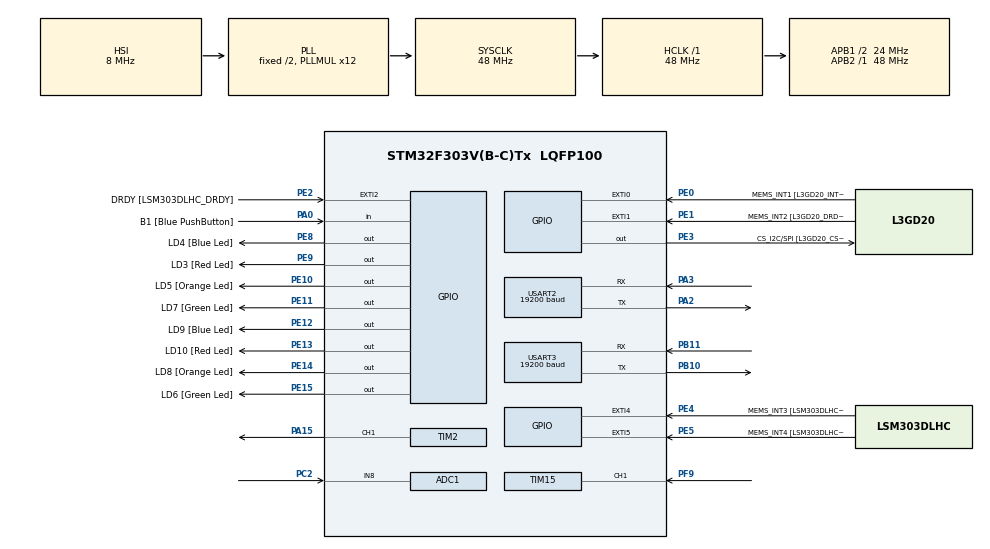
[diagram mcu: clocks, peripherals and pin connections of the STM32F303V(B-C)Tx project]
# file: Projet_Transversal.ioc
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ADC1.AWD1HighThreshold=3048
ADC1.AWD1ITMode=ENABLE
ADC1.Channel-6\#ChannelRegularConversion=ADC_CHANNEL_8
ADC1.EnableAnalogWatchDog1=true
ADC1.ExternalTrigConv=ADC_EXTERNALTRIGCONV_T3_TRGO
ADC1.NbrOfConversionFlag=1
ADC1.Offset-6\#ChannelRegularConversion=0
ADC1.OffsetNumber-6\#ChannelRegularConversion=ADC_OFFSET_NONE
ADC1.Rank-6\#ChannelRegularConversion=1
ADC1.SamplingTime-6\#ChannelRegularConversion=ADC_SAMPLETIME_1CYCLE_5
ADC1.SamplingTimeOPAMP-6\#ChannelRegularConversion=ADC_SAMPLETIME_19CYCLES_5
ADC1.WatchdogChannel=ADC_CHANNEL_8
ADC1.master=1
Mcu.Family=STM32F3
Mcu.Name=STM32F303V(B-C)Tx
Mcu.Package=LQFP100
NVIC.ADC1_2_IRQn=true\:0\:0\:false\:false\:true\:true\:true\:true
NVIC.PriorityGroup=NVIC_PRIORITYGROUP_0
NVIC.USART2_IRQn=true\:0\:0\:false\:false\:true\:true\:true\:true
NVIC.USART3_IRQn=true\:0\:0\:false\:false\:true\:true\:true\:true
PA0.GPIO_Label=B1 [Blue PushButton]
PA0.GPIO_Mode=GPIO_MODE_INPUT
PA0.GPIO_PuPd=GPIO_NOPULL
PA0.Signal=GPIO_Input
PA11.GPIO_Label=DM
PA11.Signal=USB_DM
PA12.GPIO_Label=DP
PA12.Signal=USB_DP
PA13.GPIO_Label=SWDIO
PA13.Signal=SYS_JTMS-SWDIO
PA14.GPIO_Label=SWCLK
PA14.Signal=SYS_JTCK-SWCLK
PA15.Signal=S_TIM2_CH1_ETR
PA2.Mode=Asynchronous
PA2.Signal=USART2_TX
PA3.Mode=Asynchronous
PA3.Signal=USART2_RX
PA5.GPIO_Label=SPI1_SCK [L3GD20_SCL/SPC]
PA5.GPIO_Mode=GPIO_MODE_AF_PP
PA5.GPIO_PuPd=GPIO_NOPULL
PA5.GPIO_Speed=GPIO_SPEED_FREQ_LOW
PA5.Signal=SPI1_SCK
PA6.GPIO_Label=SPI1_MISO [L3GD20_SA0/SDO]
PA6.GPIO_Mode=GPIO_MODE_AF_PP
PA6.GPIO_PuPd=GPIO_NOPULL
PA6.GPIO_Speed=GPIO_SPEED_FREQ_LOW
PA6.Signal=SPI1_MISO
PA7.GPIO_Label=SPI1_MISO [L3GD20_SDA/SDI/SDO]
PA7.GPIO_Mode=GPIO_MODE_AF_PP
PA7.GPIO_PuPd=GPIO_NOPULL
PA7.GPIO_Speed=GPIO_SPEED_FREQ_LOW
PA7.Signal=SPI1_MOSI
PB10.Mode=Asynchronous
PB10.Signal=USART3_TX
PB11.Mode=Asynchronous
PB11.Signal=USART3_RX
PB3.GPIO_Label=SWO
PB3.Signal=SYS_JTDO-TRACESWO
PB6.GPIO_FM6=__NULL
PB6.GPIO_Label=I2C1_SCL [LSM303DLHC_SCL]
PB6.GPIO_Mode=GPIO_MODE_AF_OD
PB6.GPIO_PuPd=GPIO_NOPULL
PB6.GPIO_Speed=GPIO_SPEED_FREQ_LOW
PB6.Signal=I2C1_SCL
PB7.GPIO_FM7=__NULL
PB7.GPIO_Label=I2C1_SDA [LSM303DLHC_SDA]
PB7.GPIO_Mode=GPIO_MODE_AF_OD
PB7.GPIO_PuPd=GPIO_NOPULL
PB7.GPIO_Speed=GPIO_SPEED_FREQ_LOW
PB7.Signal=I2C1_SDA
PC14-OSC32_IN.GPIO_Label=OSC32_IN
PC14-OSC32_IN.Signal=RCC_OSC32_IN
PC15-OSC32_OUT.GPIO_Label=OSC32_OUT
PC15-OSC32_OUT.Signal=RCC_OSC32_OUT
PC2.Signal=ADCx_IN8
PE0.GPIO_Label=MEMS_INT1 [L3GD20_INT1]
PE0.GPIO_ModeDefaultEXTI=GPIO_MODE_EVT_RISING
PE0.GPIO_PuPd=GPIO_NOPULL
PE0.Signal=GPXTI0
PE1.GPIO_Label=MEMS_INT2 [L3GD20_DRDY/INT2]
PE1.GPIO_ModeDefaultEXTI=GPIO_MODE_EVT_RISING
PE1.GPIO_PuPd=GPIO_NOPULL
PE1.Signal=GPXTI1
PE10.GPIO_Label=LD5 [Orange Led]
PE10.GPIO_ModeDefaultOutputPP=GPIO_MODE_OUTPUT_PP
PE10.GPIO_PuPd=GPIO_NOPULL
PE10.GPIO_Speed=GPIO_SPEED_FREQ_LOW
PE10.Signal=GPIO_Output
PE11.GPIO_Label=LD7 [Green Led]
PE11.GPIO_ModeDefaultOutputPP=GPIO_MODE_OUTPUT_PP
PE11.GPIO_PuPd=GPIO_NOPULL
PE11.GPIO_Speed=GPIO_SPEED_FREQ_LOW
PE11.Signal=GPIO_Output
PE12.GPIO_Label=LD9 [Blue Led]
PE12.GPIO_ModeDefaultOutputPP=GPIO_MODE_OUTPUT_PP
PE12.GPIO_PuPd=GPIO_NOPULL
PE12.GPIO_Speed=GPIO_SPEED_FREQ_LOW
PE12.Signal=GPIO_Output
PE13.GPIO_Label=LD10 [Red Led]
PE13.GPIO_ModeDefaultOutputPP=GPIO_MODE_OUTPUT_PP
PE13.GPIO_PuPd=GPIO_NOPULL
PE13.GPIO_Speed=GPIO_SPEED_FREQ_LOW
PE13.Signal=GPIO_Output
PE14.GPIO_Label=LD8 [Orange Led]
PE14.GPIO_ModeDefaultOutputPP=GPIO_MODE_OUTPUT_PP
PE14.GPIO_PuPd=GPIO_NOPULL
PE14.GPIO_Speed=GPIO_SPEED_FREQ_LOW
PE14.Signal=GPIO_Output
PE15.GPIO_Label=LD6 [Green Led]
PE15.GPIO_ModeDefaultOutputPP=GPIO_MODE_OUTPUT_PP
PE15.GPIO_PuPd=GPIO_NOPULL
PE15.GPIO_Speed=GPIO_SPEED_FREQ_LOW
PE15.Signal=GPIO_Output
PE2.GPIO_Label=DRDY [LSM303DLHC_DRDY]
PE2.GPIO_ModeDefaultEXTI=GPIO_MODE_EVT_RISING
PE2.GPIO_PuPd=GPIO_NOPULL
PE2.Signal=GPXTI2
PE3.GPIO_Label=CS_I2C/SPI [L3GD20_CS_I2C/SPI]
PE3.GPIO_ModeDefaultOutputPP=GPIO_MODE_OUTPUT_PP
PE3.GPIO_PuPd=GPIO_NOPULL
PE3.GPIO_Speed=GPIO_SPEED_FREQ_LOW
PE3.Signal=GPIO_Output
PE4.GPIO_Label=MEMS_INT3 [LSM303DLHC_INT1]
PE4.GPIO_ModeDefaultEXTI=GPIO_MODE_EVT_RISING
PE4.GPIO_PuPd=GPIO_NOPULL
PE4.Signal=GPXTI4
PE5.GPIO_Label=MEMS_INT4 [LSM303DLHC_INT2]
PE5.GPIO_ModeDefaultEXTI=GPIO_MODE_EVT_RISING
PE5.GPIO_PuPd=GPIO_NOPULL
PE5.Signal=GPXTI5
PE8.GPIO_Label=LD4 [Blue Led]
PE8.GPIO_ModeDefaultOutputPP=GPIO_MODE_OUTPUT_PP
PE8.GPIO_PuPd=GPIO_NOPULL
PE8.GPIO_Speed=GPIO_SPEED_FREQ_LOW
PE8.Signal=GPIO_Output
PE9.GPIO_Label=LD3 [Red Led]
PE9.GPIO_ModeDefaultOutputPP=GPIO_MODE_OUTPUT_PP
PE9.GPIO_PuPd=GPIO_NOPULL
PE9.GPIO_Speed=GPIO_SPEED_FREQ_LOW
PE9.Signal=GPIO_Output
PF0-OSC_IN.GPIO_Label=OSC_IN
PF0-OSC_IN.Signal=RCC_OSC_IN
PF1-OSC_OUT.GPIO_Label=OSC_OUT
PF1-OSC_OUT.Signal=RCC_OSC_OUT
PF9.Signal=S_TIM15_CH1
ProjectManager.HeapSize=0x200
ProjectManager.StackSize=0x400
ProjectManager.TargetToolchain=STM32CubeIDE
RCC.AHBFreq_Value=48000000
RCC.APB1CLKDivider=RCC_HCLK_DIV2
RCC.APB1Freq_Value=24000000
RCC.APB1TimFreq_Value=48000000
RCC.APB2Freq_Value=48000000
RCC.APB2TimFreq_Value=48000000
RCC.CortexFreq_Value=48000000
RCC.HCLKFreq_Value=48000000
RCC.HSE_VALUE=8000000
RCC.HSI_VALUE=8000000
RCC.LSE_VALUE=32768
RCC.PLLMUL=RCC_PLL_MUL12
RCC.SYSCLKFreq_VALUE=48000000
RCC.SYSCLKSourceVirtual=RCC_SYSCLKSOURCE_PLLCLK
RCC.USBFreq_Value=48000000
SH.ADCx_IN8.0=ADC1_IN8,IN8-Single-Ended
SH.S_TIM15_CH1.0=TIM15_CH1,Input_Capture1_from_TI1
SH.S_TIM2_CH1_ETR.0=TIM2_CH1,PWM Generation1 CH1
TIM15.Channel-Input_Capture1_from_TI1=TIM_CHANNEL_1
TIM2.Channel-PWM\ Generation1\ CH1=TIM_CHANNEL_1
TIM2.Period=1000-1
TIM2.Prescaler=960-1
TIM3.Channel-PWM\ Generation1\ No\ Output=TIM_CHANNEL_1
TIM3.Prescaler=100
TIM3.TIM_MasterOutputTrigger=TIM_TRGO_UPDATE
USART2.BaudRate=19200
USART2.OverrunDisableParam=ADVFEATURE_OVERRUN_DISABLE
USART2.VirtualMode-Asynchronous=VM_ASYNC
USART3.BaudRate=19200
USART3.OverrunDisableParam=ADVFEATURE_OVERRUN_DISABLE
USART3.VirtualMode-Asynchronous=VM_ASYNC
VP_TIM2_VS_ClockSourceINT.Mode=Internal
VP_TIM3_VS_no_output1.Mode=PWM Generation1 No Output
board=STM32F3DISCOVERY

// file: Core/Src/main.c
/* USER CODE BEGIN Header */
/**
  ******************************************************************************
  * @file           : main.c
  * @brief          : Main program body
  ******************************************************************************
  * @attention
  *
  * Copyright (c) 2025 STMicroelectronics.
  * All rights reserved.
  *
  * This software is licensed under terms that can be found in the LICENSE file
  * in the root directory of this software component.
  * If no LICENSE file comes with this software, it is provided AS-IS.
  *
  ******************************************************************************
  */
/* USER CODE END Header */
#include "main.h"

/* USER CODE BEGIN Includes */

#include <string.h>

/* USER CODE END Includes */

/* USER CODE BEGIN PM */
#define INFRARED_ADC_HANDLE hadc1

#define WIRELESS_UART_HANDLE huart2
#define SERIALIZER_UART_HANDLE huart3

/* USER CODE END PM */

ADC_HandleTypeDef hadc1;

TIM_HandleTypeDef htim2;
TIM_HandleTypeDef htim3;
TIM_HandleTypeDef htim15;

UART_HandleTypeDef huart2;
UART_HandleTypeDef huart3;

void SystemClock_Config(void);
static void MX_GPIO_Init(void);
static void MX_USART2_UART_Init(void);
static void MX_USART3_UART_Init(void);
static void MX_TIM2_Init(void);
static void MX_TIM15_Init(void);
static void MX_ADC1_Init(void);
static void MX_TIM3_Init(void);

/* USER CODE BEGIN 0 */
uint8_t uart_buffer[10];
uint8_t interrupt_buf[101];
uint8_t uart2_char[1];
uint8_t uart3_char[1];

int is_receiving = 0;
int buf_cnt = 0;
uint16_t ADC_VAL = 0;

enum robot_state {
	FORWARD,
	TURN_RIGHT,
	TURN_LEFT,
	BACKWARD,
	STOP
};

enum robot_state state;

int send_serializer_cmd(UART_HandleTypeDef * serializer_uart, uint8_t * cmd, int len, int timeout) {
	HAL_StatusTypeDef status;
	char resp[7];
	status = HAL_UART_Transmit(serializer_uart, cmd, len, timeout);
	status = HAL_UART_Receive(serializer_uart, (uint8_t *) resp, 7, HAL_MAX_DELAY);
	if(status) return status;
	HAL_UART_Transmit(&huart2, (uint8_t *) "A", 1, 100);

	if(status) return status;
	HAL_UART_Transmit(&huart2, (uint8_t *) "B", 1, 100);
	HAL_UART_Transmit(&huart2, (uint8_t *) resp, strlen(resp), 100);
	HAL_UART_Transmit(&huart2, (uint8_t *) "B", 1, 100);

	if(strcmp(&resp[1], "A") == 0) {
		return HAL_OK;
	} else {
		return HAL_ERROR;
	}
}

/* USER CODE END 0 */

HAL_StatusTypeDef x;
int main(void)
{

  /* MCU Configuration--------------------------------------------------------*/

  /* Reset of all peripherals, Initializes the Flash interface and the Systick. */
  HAL_Init();

  /* Configure the system clock */
  SystemClock_Config();

  /* Initialize all configured peripherals */
  MX_GPIO_Init();
  MX_USART2_UART_Init();
  MX_USART3_UART_Init();
  MX_TIM2_Init();
  MX_TIM15_Init();
  MX_ADC1_Init();
  MX_TIM3_Init();
  /* USER CODE BEGIN 2 */
  HAL_UART_Receive_IT(&huart2, uart2_char, 1);
  //HAL_UART_Receive_IT(&huart3, uart3_char, 1);
  HAL_TIM_PWM_Start(&htim2, TIM_CHANNEL_1);
  HAL_TIM_PWM_Start(&htim3, TIM_CHANNEL_1);
  HAL_ADC_Start_IT(&hadc1);

  state = FORWARD;
  /* USER CODE END 2 */

  /* Infinite loop */
  /* USER CODE BEGIN WHILE */
  while (1)
  {
	  //HAL_UART_Transmit(&huart2, (uint8_t *) "Main Loop\r\n", 11, 100);
	  //HAL_Delay(1000);

//	  htim2.Instance->CCR1 = 45;  // duty cycle is .5 ms
//	  HAL_Delay(2000);
//	  htim2.Instance->CCR1 = 75;  // duty cycle is 1.5 ms
//	  HAL_Delay(2000);
//	  htim2.Instance->CCR1 = 100;  // duty cycle is 2.5 ms
//	  HAL_Delay(2000);

	  //HAL_UART_Receive(&huart2, uart_buffer, 10, HAL_MAX_DELAY);
//	  HAL_UART_Transmit(&huart2, (uint8_t *) "\r\n", 2, 100);
//	  HAL_UART_Transmit(&huart2, uart_buffer, 10, 100);
//	  HAL_UART_Transmit(&huart2, (uint8_t *) "\r\n", 2, 100);
	  //HAL_UART_Transmit(&huart2, (uint8_t *) "Hello World!\r\n", 14, 100);

//	  uint16_t adc_val = HAL_ADC_GetValue(&hadc1);
//	  HAL_UART_Transmit(&huart2, (uint8_t *) &adc_val, 1, 100);
//	  HAL_UART_Transmit(&huart2, (uint8_t *) "\r\n", 2, 100);

	  char cmd[100];
	  if(state == FORWARD) {
		  strcpy(cmd, "mogo 1:4 2:4\r");
//		  cmd = "mogo 1:4 2:4\r";
		  //send_serializer_cmd(&SERIALIZER_UART_HANDLE, (uint8_t *) cmd, strlen(cmd), HAL_MAX_DELAY);
//		  HAL_UART_Transmit(&huart3, (uint8_t *) "mogo 1:4 2:4\r", 13, 100);
//		  HAL_UART_Transmit(&huart2, (uint8_t *) "forward\r\n", 9, 100);
//		  HAL_Delay(100);
	  } else if(state == TURN_RIGHT) {
		  strcpy(cmd, "mogo 1:4 2:-4\r");
//		  cmd = "mogo 1:4 2:-4\r";
		  //send_serializer_cmd(&SERIALIZER_UART_HANDLE, (uint8_t *) cmd, strlen(cmd), 100);
//		  HAL_UART_Transmit(&huart3, (uint8_t *) "mogo 1:4 2:-4\r", 14, 100);
//		  HAL_UART_Transmit(&huart2, (uint8_t *) "right\r\n", 7, 100);
//		  HAL_Delay(2000);
		  state = FORWARD;
	  } else if(state == BACKWARD) {
		  strcpy(cmd, "mogo 1:-4 2:-4\r");
		  //cmd = "mogo 1:-4 2:-4\r";
		  //send_serializer_cmd(&SERIALIZER_UART_HANDLE, (uint8_t *) cmd, strlen(cmd), 100);
//		  HAL_UART_Transmit(&huart3, (uint8_t *) "mogo 1:-4 2:-4\r", 15, 100);
//		  HAL_UART_Transmit(&huart2, (uint8_t *) "back\r\n", 6, 100);
//		  HAL_Delay(2000);
		  state = TURN_RIGHT;
	  } else if(state == STOP) {
		  strcpy(cmd, "stop\r");
//		  cmd = "stop\r";
		  //send_serializer_cmd(&SERIALIZER_UART_HANDLE, (uint8_t *) cmd, strlen(cmd), 100);
//		  HAL_UART_Transmit(&huart3, (uint8_t *) "stop\r", 5, 100);
//		  HAL_UART_Transmit(&huart2, (uint8_t *) "stop\r\n", 6, 100);
//		  HAL_Delay(1000);
		  //state = STOP;
	  }

	  HAL_UART_Transmit(&SERIALIZER_UART_HANDLE, cmd, strlen(cmd), 100);
	  sprintf(cmd, "%s\n", cmd);
	  HAL_UART_Transmit(&WIRELESS_UART_HANDLE, cmd, strlen(cmd), 100);
	  HAL_Delay(1000);

    /* USER CODE END WHILE */

  }
}

void SystemClock_Config(void)
{
  RCC_OscInitTypeDef RCC_OscInitStruct = {0};
  RCC_ClkInitTypeDef RCC_ClkInitStruct = {0};
  RCC_PeriphCLKInitTypeDef PeriphClkInit = {0};

  /** Initializes the RCC Oscillators according to the specified parameters
  * in the RCC_OscInitTypeDef structure.
  */
  RCC_OscInitStruct.OscillatorType = RCC_OSCILLATORTYPE_HSI;
  RCC_OscInitStruct.HSIState = RCC_HSI_ON;
  RCC_OscInitStruct.HSICalibrationValue = RCC_HSICALIBRATION_DEFAULT;
  RCC_OscInitStruct.PLL.PLLState = RCC_PLL_ON;
  RCC_OscInitStruct.PLL.PLLSource = RCC_PLLSOURCE_HSI;
  RCC_OscInitStruct.PLL.PLLMUL = RCC_PLL_MUL12;
  if (HAL_RCC_OscConfig(&RCC_OscInitStruct) != HAL_OK)
  {
    Error_Handler();
  }

  /** Initializes the CPU, AHB and APB buses clocks
  */
  RCC_ClkInitStruct.ClockType = RCC_CLOCKTYPE_HCLK|RCC_CLOCKTYPE_SYSCLK
                              |RCC_CLOCKTYPE_PCLK1|RCC_CLOCKTYPE_PCLK2;
  RCC_ClkInitStruct.SYSCLKSource = RCC_SYSCLKSOURCE_PLLCLK;
  RCC_ClkInitStruct.AHBCLKDivider = RCC_SYSCLK_DIV1;
  RCC_ClkInitStruct.APB1CLKDivider = RCC_HCLK_DIV2;
  RCC_ClkInitStruct.APB2CLKDivider = RCC_HCLK_DIV1;

  if (HAL_RCC_ClockConfig(&RCC_ClkInitStruct, FLASH_LATENCY_1) != HAL_OK)
  {
    Error_Handler();
  }
  PeriphClkInit.PeriphClockSelection = RCC_PERIPHCLK_USART2|RCC_PERIPHCLK_USART3
                              |RCC_PERIPHCLK_ADC12;
  PeriphClkInit.Usart2ClockSelection = RCC_USART2CLKSOURCE_PCLK1;
  PeriphClkInit.Usart3ClockSelection = RCC_USART3CLKSOURCE_PCLK1;
  PeriphClkInit.Adc12ClockSelection = RCC_ADC12PLLCLK_DIV1;
  if (HAL_RCCEx_PeriphCLKConfig(&PeriphClkInit) != HAL_OK)
  {
    Error_Handler();
  }
}

static void MX_ADC1_Init(void)
{

  ADC_MultiModeTypeDef multimode = {0};
  ADC_AnalogWDGConfTypeDef AnalogWDGConfig = {0};
  ADC_ChannelConfTypeDef sConfig = {0};

  /** Common config
  */
  hadc1.Instance = ADC1;
  hadc1.Init.ClockPrescaler = ADC_CLOCK_ASYNC_DIV1;
  hadc1.Init.Resolution = ADC_RESOLUTION_12B;
  hadc1.Init.ScanConvMode = ADC_SCAN_DISABLE;
  hadc1.Init.ContinuousConvMode = DISABLE;
  hadc1.Init.DiscontinuousConvMode = DISABLE;
  hadc1.Init.ExternalTrigConvEdge = ADC_EXTERNALTRIGCONVEDGE_RISING;
  hadc1.Init.ExternalTrigConv = ADC_EXTERNALTRIGCONV_T3_TRGO;
  hadc1.Init.DataAlign = ADC_DATAALIGN_RIGHT;
  hadc1.Init.NbrOfConversion = 1;
  hadc1.Init.DMAContinuousRequests = DISABLE;
  hadc1.Init.EOCSelection = ADC_EOC_SINGLE_CONV;
  hadc1.Init.LowPowerAutoWait = DISABLE;
  hadc1.Init.Overrun = ADC_OVR_DATA_OVERWRITTEN;
  if (HAL_ADC_Init(&hadc1) != HAL_OK)
  {
    Error_Handler();
  }

  /** Configure the ADC multi-mode
  */
  multimode.Mode = ADC_MODE_INDEPENDENT;
  if (HAL_ADCEx_MultiModeConfigChannel(&hadc1, &multimode) != HAL_OK)
  {
    Error_Handler();
  }

  /** Configure Analog WatchDog 1
  */
  AnalogWDGConfig.WatchdogNumber = ADC_ANALOGWATCHDOG_1;
  AnalogWDGConfig.WatchdogMode = ADC_ANALOGWATCHDOG_SINGLE_REG;
  AnalogWDGConfig.HighThreshold = 3048;
  AnalogWDGConfig.LowThreshold = 0;
  AnalogWDGConfig.Channel = ADC_CHANNEL_8;
  AnalogWDGConfig.ITMode = ENABLE;
  if (HAL_ADC_AnalogWDGConfig(&hadc1, &AnalogWDGConfig) != HAL_OK)
  {
    Error_Handler();
  }

  /** Configure Regular Channel
  */
  sConfig.Channel = ADC_CHANNEL_8;
  sConfig.Rank = ADC_REGULAR_RANK_1;
  sConfig.SingleDiff = ADC_SINGLE_ENDED;
  sConfig.SamplingTime = ADC_SAMPLETIME_1CYCLE_5;
  sConfig.OffsetNumber = ADC_OFFSET_NONE;
  sConfig.Offset = 0;
  if (HAL_ADC_ConfigChannel(&hadc1, &sConfig) != HAL_OK)
  {
    Error_Handler();
  }

}

static void MX_TIM2_Init(void)
{

  TIM_ClockConfigTypeDef sClockSourceConfig = {0};
  TIM_MasterConfigTypeDef sMasterConfig = {0};
  TIM_OC_InitTypeDef sConfigOC = {0};

  htim2.Instance = TIM2;
  htim2.Init.Prescaler = 960-1;
  htim2.Init.CounterMode = TIM_COUNTERMODE_UP;
  htim2.Init.Period = 1000-1;
  htim2.Init.ClockDivision = TIM_CLOCKDIVISION_DIV1;
  htim2.Init.AutoReloadPreload = TIM_AUTORELOAD_PRELOAD_DISABLE;
  if (HAL_TIM_Base_Init(&htim2) != HAL_OK)
  {
    Error_Handler();
  }
  sClockSourceConfig.ClockSource = TIM_CLOCKSOURCE_INTERNAL;
  if (HAL_TIM_ConfigClockSource(&htim2, &sClockSourceConfig) != HAL_OK)
  {
    Error_Handler();
  }
  if (HAL_TIM_PWM_Init(&htim2) != HAL_OK)
  {
    Error_Handler();
  }
  sMasterConfig.MasterOutputTrigger = TIM_TRGO_RESET;
  sMasterConfig.MasterSlaveMode = TIM_MASTERSLAVEMODE_DISABLE;
  if (HAL_TIMEx_MasterConfigSynchronization(&htim2, &sMasterConfig) != HAL_OK)
  {
    Error_Handler();
  }
  sConfigOC.OCMode = TIM_OCMODE_PWM1;
  sConfigOC.Pulse = 0;
  sConfigOC.OCPolarity = TIM_OCPOLARITY_HIGH;
  sConfigOC.OCFastMode = TIM_OCFAST_DISABLE;
  if (HAL_TIM_PWM_ConfigChannel(&htim2, &sConfigOC, TIM_CHANNEL_1) != HAL_OK)
  {
    Error_Handler();
  }
  HAL_TIM_MspPostInit(&htim2);

}

static void MX_TIM3_Init(void)
{

  TIM_MasterConfigTypeDef sMasterConfig = {0};
  TIM_OC_InitTypeDef sConfigOC = {0};

  htim3.Instance = TIM3;
  htim3.Init.Prescaler = 100;
  htim3.Init.CounterMode = TIM_COUNTERMODE_UP;
  htim3.Init.Period = 65535;
  htim3.Init.ClockDivision = TIM_CLOCKDIVISION_DIV1;
  htim3.Init.AutoReloadPreload = TIM_AUTORELOAD_PRELOAD_DISABLE;
  if (HAL_TIM_PWM_Init(&htim3) != HAL_OK)
  {
    Error_Handler();
  }
  sMasterConfig.MasterOutputTrigger = TIM_TRGO_UPDATE;
  sMasterConfig.MasterSlaveMode = TIM_MASTERSLAVEMODE_DISABLE;
  if (HAL_TIMEx_MasterConfigSynchronization(&htim3, &sMasterConfig) != HAL_OK)
  {
    Error_Handler();
  }
  sConfigOC.OCMode = TIM_OCMODE_PWM1;
  sConfigOC.Pulse = 0;
  sConfigOC.OCPolarity = TIM_OCPOLARITY_HIGH;
  sConfigOC.OCFastMode = TIM_OCFAST_DISABLE;
  if (HAL_TIM_PWM_ConfigChannel(&htim3, &sConfigOC, TIM_CHANNEL_1) != HAL_OK)
  {
    Error_Handler();
  }

}

static void MX_TIM15_Init(void)
{

  TIM_MasterConfigTypeDef sMasterConfig = {0};
  TIM_IC_InitTypeDef sConfigIC = {0};

  htim15.Instance = TIM15;
  htim15.Init.Prescaler = 0;
  htim15.Init.CounterMode = TIM_COUNTERMODE_UP;
  htim15.Init.Period = 65535;
  htim15.Init.ClockDivision = TIM_CLOCKDIVISION_DIV1;
  htim15.Init.RepetitionCounter = 0;
  htim15.Init.AutoReloadPreload = TIM_AUTORELOAD_PRELOAD_DISABLE;
  if (HAL_TIM_IC_Init(&htim15) != HAL_OK)
  {
    Error_Handler();
  }
  sMasterConfig.MasterOutputTrigger = TIM_TRGO_RESET;
  sMasterConfig.MasterSlaveMode = TIM_MASTERSLAVEMODE_DISABLE;
  if (HAL_TIMEx_MasterConfigSynchronization(&htim15, &sMasterConfig) != HAL_OK)
  {
    Error_Handler();
  }
  sConfigIC.ICPolarity = TIM_INPUTCHANNELPOLARITY_RISING;
  sConfigIC.ICSelection = TIM_ICSELECTION_DIRECTTI;
  sConfigIC.ICPrescaler = TIM_ICPSC_DIV1;
  sConfigIC.ICFilter = 0;
  if (HAL_TIM_IC_ConfigChannel(&htim15, &sConfigIC, TIM_CHANNEL_1) != HAL_OK)
  {
    Error_Handler();
  }

}

static void MX_USART2_UART_Init(void)
{

  huart2.Instance = USART2;
  huart2.Init.BaudRate = 19200;
  huart2.Init.WordLength = UART_WORDLENGTH_8B;
  huart2.Init.StopBits = UART_STOPBITS_1;
  huart2.Init.Parity = UART_PARITY_NONE;
  huart2.Init.Mode = UART_MODE_TX_RX;
  huart2.Init.HwFlowCtl = UART_HWCONTROL_NONE;
  huart2.Init.OverSampling = UART_OVERSAMPLING_16;
  huart2.Init.OneBitSampling = UART_ONE_BIT_SAMPLE_DISABLE;
  huart2.AdvancedInit.AdvFeatureInit = UART_ADVFEATURE_RXOVERRUNDISABLE_INIT;
  huart2.AdvancedInit.OverrunDisable = UART_ADVFEATURE_OVERRUN_DISABLE;
  if (HAL_UART_Init(&huart2) != HAL_OK)
  {
    Error_Handler();
  }

}

static void MX_USART3_UART_Init(void)
{

  huart3.Instance = USART3;
  huart3.Init.BaudRate = 19200;
  huart3.Init.WordLength = UART_WORDLENGTH_8B;
  huart3.Init.StopBits = UART_STOPBITS_1;
  huart3.Init.Parity = UART_PARITY_NONE;
  huart3.Init.Mode = UART_MODE_TX_RX;
  huart3.Init.HwFlowCtl = UART_HWCONTROL_NONE;
  huart3.Init.OverSampling = UART_OVERSAMPLING_16;
  huart3.Init.OneBitSampling = UART_ONE_BIT_SAMPLE_DISABLE;
  huart3.AdvancedInit.AdvFeatureInit = UART_ADVFEATURE_RXOVERRUNDISABLE_INIT;
  huart3.AdvancedInit.OverrunDisable = UART_ADVFEATURE_OVERRUN_DISABLE;
  if (HAL_UART_Init(&huart3) != HAL_OK)
  {
    Error_Handler();
  }

}

static void MX_GPIO_Init(void)
{
  GPIO_InitTypeDef GPIO_InitStruct = {0};

  /* GPIO Ports Clock Enable */
  __HAL_RCC_GPIOE_CLK_ENABLE();
  __HAL_RCC_GPIOC_CLK_ENABLE();
  __HAL_RCC_GPIOF_CLK_ENABLE();
  __HAL_RCC_GPIOA_CLK_ENABLE();
  __HAL_RCC_GPIOB_CLK_ENABLE();

  /*Configure GPIO pin Output Level */
  HAL_GPIO_WritePin(GPIOE, CS_I2C_SPI_Pin|LD4_Pin|LD3_Pin|LD5_Pin
                          |LD7_Pin|LD9_Pin|LD10_Pin|LD8_Pin
                          |LD6_Pin, GPIO_PIN_RESET);

  /*Configure GPIO pins : DRDY_Pin MEMS_INT3_Pin MEMS_INT4_Pin MEMS_INT1_Pin
                           MEMS_INT2_Pin */
  GPIO_InitStruct.Pin = DRDY_Pin|MEMS_INT3_Pin|MEMS_INT4_Pin|MEMS_INT1_Pin
                          |MEMS_INT2_Pin;
  GPIO_InitStruct.Mode = GPIO_MODE_EVT_RISING;
  GPIO_InitStruct.Pull = GPIO_NOPULL;
  HAL_GPIO_Init(GPIOE, &GPIO_InitStruct);

  /*Configure GPIO pins : CS_I2C_SPI_Pin LD4_Pin LD3_Pin LD5_Pin
                           LD7_Pin LD9_Pin LD10_Pin LD8_Pin
                           LD6_Pin */
  GPIO_InitStruct.Pin = CS_I2C_SPI_Pin|LD4_Pin|LD3_Pin|LD5_Pin
                          |LD7_Pin|LD9_Pin|LD10_Pin|LD8_Pin
                          |LD6_Pin;
  GPIO_InitStruct.Mode = GPIO_MODE_OUTPUT_PP;
  GPIO_InitStruct.Pull = GPIO_NOPULL;
  GPIO_InitStruct.Speed = GPIO_SPEED_FREQ_LOW;
  HAL_GPIO_Init(GPIOE, &GPIO_InitStruct);

  /*Configure GPIO pin : B1_Pin */
  GPIO_InitStruct.Pin = B1_Pin;
  GPIO_InitStruct.Mode = GPIO_MODE_INPUT;
  GPIO_InitStruct.Pull = GPIO_NOPULL;
  HAL_GPIO_Init(B1_GPIO_Port, &GPIO_InitStruct);

  /*Configure GPIO pins : SPI1_SCK_Pin SPI1_MISO_Pin SPI1_MISOA7_Pin */
  GPIO_InitStruct.Pin = SPI1_SCK_Pin|SPI1_MISO_Pin|SPI1_MISOA7_Pin;
  GPIO_InitStruct.Mode = GPIO_MODE_AF_PP;
  GPIO_InitStruct.Pull = GPIO_NOPULL;
  GPIO_InitStruct.Speed = GPIO_SPEED_FREQ_LOW;
  GPIO_InitStruct.Alternate = GPIO_AF5_SPI1;
  HAL_GPIO_Init(GPIOA, &GPIO_InitStruct);

  /*Configure GPIO pins : DM_Pin DP_Pin */
  GPIO_InitStruct.Pin = DM_Pin|DP_Pin;
  GPIO_InitStruct.Mode = GPIO_MODE_AF_PP;
  GPIO_InitStruct.Pull = GPIO_NOPULL;
  GPIO_InitStruct.Speed = GPIO_SPEED_FREQ_HIGH;
  GPIO_InitStruct.Alternate = GPIO_AF14_USB;
  HAL_GPIO_Init(GPIOA, &GPIO_InitStruct);

  /*Configure GPIO pins : I2C1_SCL_Pin I2C1_SDA_Pin */
  GPIO_InitStruct.Pin = I2C1_SCL_Pin|I2C1_SDA_Pin;
  GPIO_InitStruct.Mode = GPIO_MODE_AF_OD;
  GPIO_InitStruct.Pull = GPIO_NOPULL;
  GPIO_InitStruct.Speed = GPIO_SPEED_FREQ_LOW;
  GPIO_InitStruct.Alternate = GPIO_AF4_I2C1;
  HAL_GPIO_Init(GPIOB, &GPIO_InitStruct);

}

/* USER CODE BEGIN 4 */
void HAL_UART_RxCpltCallback(UART_HandleTypeDef *huart)
{
	//HAL_UART_Transmit(&huart2, (uint8_t *) "ab\r\n", 4, 100);
	if(huart == &huart2) {
		if(uart2_char[0] == 's') {
			state = STOP;
		} else if(uart2_char[0] == 'g') {
			HAL_UART_Transmit(&huart2, (uint8_t *) "cd\r\n", 4, 100);
			state = FORWARD;
		}

		if(!is_receiving && uart2_char[0] == 'c') {
			is_receiving = '1';
			buf_cnt = 0;

			HAL_UART_Transmit(&huart2, (uint8_t *) "hit\r\n", 5, 100);

//			HAL_UART_Receive(&huart2, interrupt_buf, 10, HAL_MAX_DELAY);
//			HAL_UART_Transmit(&huart2, (uint8_t *) "\r\n", 2, 100);
//			HAL_UART_Transmit(&huart2, interrupt_buf, 10, 100);
//			HAL_UART_Transmit(&huart2, (uint8_t *) "\r\n", 2, 100);

//			HAL_UART_Transmit(&huart3, interrupt_buf, 10, HAL_MAX_DELAY);
//			HAL_UART_Transmit(&huart3, (uint8_t *) "\r", 1, 100);
		} else if(is_receiving) {
			interrupt_buf[buf_cnt] = uart2_char[0];
			buf_cnt++;

			if(uart2_char[0] == '\r' || buf_cnt >= 99) {

				interrupt_buf[buf_cnt] = '\0';

				for(int i = 0; interrupt_buf[i] != '\0' && i<101; i++) {
					HAL_UART_Transmit(&huart3, (uint8_t *) interrupt_buf+i, 1, HAL_MAX_DELAY);
				}

				is_receiving = 0;
			}
		}
	} else if(huart == &huart3) {
		//HAL_UART_Receive(&huart3, uart3_char, 1, HAL_MAX_DELAY);
		HAL_UART_Transmit(&huart2, uart3_char, 1, HAL_MAX_DELAY);

	}

	HAL_UART_Receive_IT(&huart2, uart2_char, 1);
	//HAL_UART_Receive_IT(&huart3, uart3_char, 1);
}

void HAL_ADC_LevelOutOfWindowCallback(ADC_HandleTypeDef* hadc)
{
  /* Set variable to report analog watchdog out of window status to main      */
  /* program.                                                                 */
	//HAL_UART_Transmit(&huart2, (uint8_t *) "wdi\r\n", 5, 100);
	state = BACKWARD;

}

//void HAL_ADC_ConvCpltCallback(ADC_HandleTypeDef *hadc)
//{
//	HAL_UART_Transmit(&huart2, (uint8_t *) "dcd\r\n", 5, 100);
//	  ADC_VAL = HAL_ADC_GetValue(&hadc1);
//	  char str[7];
//	  sprintf(str, "%d\r\n", ADC_VAL);
//	  HAL_UART_Transmit(&huart2, (uint8_t *) str, 7, 100);
//}
/* USER CODE END 4 */

void Error_Handler(void)
{
  __disable_irq();
  while (1)
  {
  }
}
